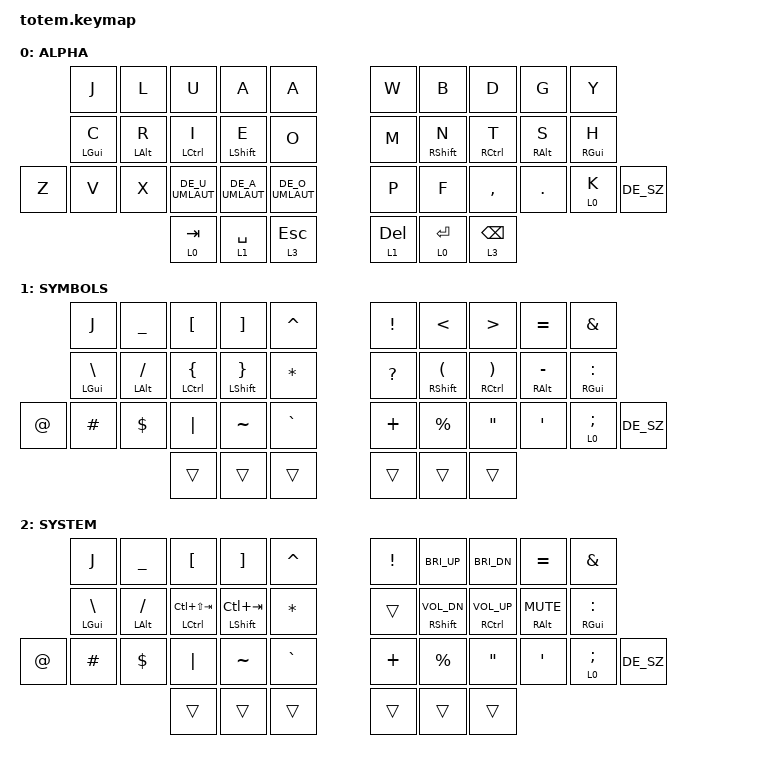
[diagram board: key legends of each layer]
//
//                                                        ▀▀▀▀▀     ▀▀▀▀▀          ▀▀█▀▀
//                                                        ▄▀▀▀▄  ▄  ▄▀▀▀▄  ▄  ▄▀▀▀▄  █  ▄▀▀▀▄
//                                                        █   █  █  █   █  █  █   █  █  █   █
//                                                         ▀▀▀   █   ▀▀▀   █   ▀▀▀   ▀   ▀▀▀
//                                                               █      ▄▄▄█▄▄▄    █   █
//                                                               ▀      █  █  █     █▄█
//                                                             ▀▀▀▀▀    █  █  █      ▀
//                                                                      ▀  ▀  ▀
//
// ▄▄▄▄▄▄▄▄▄▄▄▄▄▄▄▄▄▄▄▄▄▄▄▄▄▄▄▄▄▄▄▄▄▄▄▄▄▄▄▄▄▄▄▄▄▄▄▄▄▄▄▄▄▄▄▄▄▄▄▄▄▄▄▄▄▄▄▄▄▄▄▄▄▄▄▄▄▄▄▄▄▄▄▄▄▄▄▄▄▄▄▄▄▄▄▄▄▄▄▄▄▄▄▄▄▄▄▄▄▄▄▄▄▄▄▄▄▄▄▄▄▄▄▄▄▄▄▄▄▄▄▄▄▄▄▄▄▄▄▄▄▄▄▄▄▄▄▄▄

#include <behaviors.dtsi>
#include <dt-bindings/zmk/keys.h>
#include <dt-bindings/zmk/bt.h>
#include <dt-bindings/zmk/outputs.h>
#include <dt-bindings/zmk/ext_power.h>

#include "keys_de.h"

#define AL  0
#define SYM 1
// #define NUM 2
#define SYS 3

&mt {
    tapping-term-ms = <170>;
    quick-tap-ms = <100>;
    global-quick-tap;
    flavor = "tap-preferred";
};

&lt {
    tapping-term-ms = <240>;
    flavor = "balanced";
    quick-tap-ms = <150>;
};

/ {
    behaviors {
        hm: homerow_mods_left {
            compatible = "zmk,behavior-hold-tap";
            label = "HOMEROW_MODS_L";
            #binding-cells = <2>;
            tapping-term-ms = <300>;
            quick-tap-ms = <250>;
            flavor = "tap-preferred";
            bindings = <&kp>, <&kp>;
        };
    };

    keymap {
      compatible = "zmk,keymap";
      AL {
          label = "ALPHA";
          bindings = <
                  /* &kp J       &kp L       &bt BT_NXT      &bt BT_CLR      &out OUT_TOG                  &kp W           &kp B         &kp D       &kp G       &kp Y */
                  &kp J       &kp L       &kp U           &kp A           &kp A                         &kp W           &kp B         &kp D       &kp G       &kp Y
                  &hm LGUI C  &hm LALT R  &hm LCTRL I     &hm LSHIFT E    &kp O                         &kp M           &hm RSHFT N   &hm RCTRL T &hm RALT S  &hm RGUI H
          &kp Z   &kp V       &kp X       &kp DE_U_UMLAUT &kp DE_A_UMLAUT &kp DE_O_UMLAUT               &kp P           &kp F         &kp COMMA   &kp DOT     &lt 0 K     &kp DE_SZ
                                          &lt 0 TAB       &lt 1 SPACE     &lt 3 ESCAPE                  &lt 1 DELETE    &lt 0 ENTER   &lt 3 BACKSPACE
          >;
      };
      SYM {
          label = "SYMBOLS";
          bindings = <
                  &kp J         &kp UNDER     &kp LBKT        &kp RBKT        &kp CARET                     &kp EXCL        &kp LT          &kp GT          &kp EQUAL       &kp AMPS
                  &hm LGUI BSLH &hm LALT FSLH &hm LCTRL LBRC  &hm LSHIFT RBRC &kp STAR                      &kp QMARK       &hm RSHFT LPAR  &hm RCTRL RPAR  &hm RALT MINUS  &hm RGUI COLON
          &kp AT  &kp HASH      &kp DLLR      &kp PIPE        &kp TILDE       &kp GRAVE                     &kp PLUS        &kp PRCNT       &kp DQT         &kp SQT         &lt 0 SEMI      &kp DE_SZ
                                              &trans          &trans          &trans                        &trans          &trans          &trans
          >;
      };
      SYS {
          label = "SYSTEM";
          bindings = <
                  &kp J         &kp UNDER     &kp LBKT        &kp RBKT        &kp CARET                     &kp EXCL        &kp C_BRI_UP          &kp C_BRI_DN          &kp EQUAL       &kp AMPS
                  &hm LGUI BSLH &hm LALT FSLH &hm LCTRL LC(LS(TAB))  &hm LSHIFT LC(TAB) &kp STAR            &trans       &hm RSHFT C_VOL_DN  &hm RCTRL C_VOL_UP  &hm RALT C_MUTE  &hm RGUI COLON
          &kp AT  &kp HASH      &kp DLLR      &kp PIPE        &kp TILDE       &kp GRAVE                     &kp PLUS        &kp PRCNT       &kp DQT         &kp SQT         &lt 0 SEMI      &kp DE_SZ
                                              &trans          &trans          &trans                        &trans          &trans          &trans
          >;
      };
  };
};

